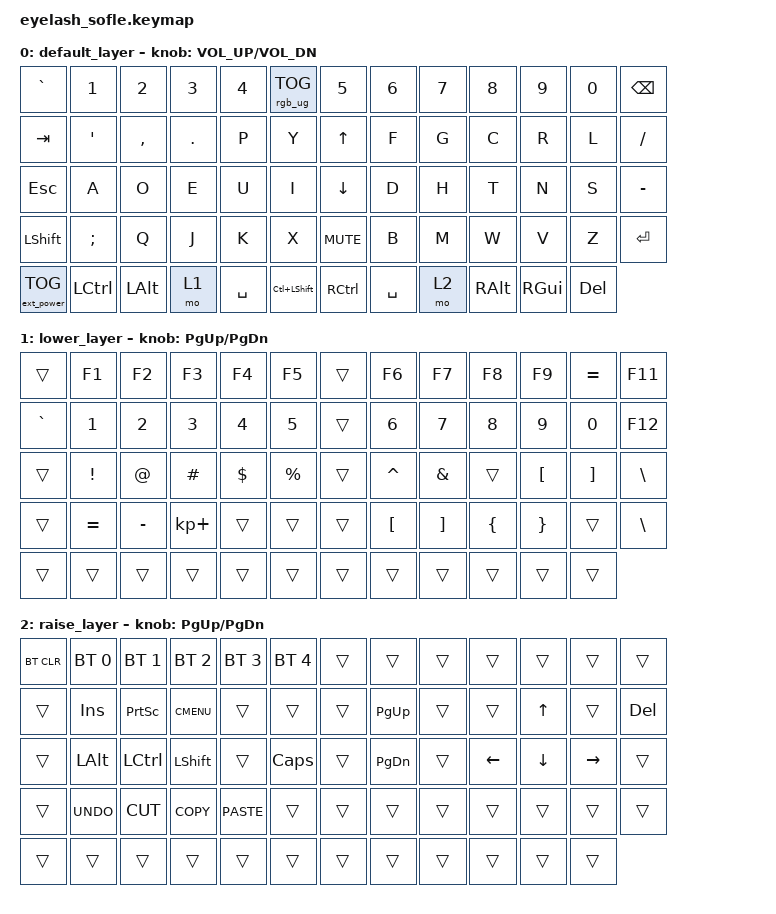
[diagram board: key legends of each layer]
/*
 * Copyright (c) 2020 The ZMK Contributors
 *
 * SPDX-License-Identifier: MIT
 */

#include <behaviors.dtsi>
#include <dt-bindings/zmk/keys.h>
#include <dt-bindings/zmk/bt.h>
#include <dt-bindings/zmk/rgb.h>
#include <dt-bindings/zmk/ext_power.h>

/ {
    keymap {
        compatible = "zmk,keymap";

        default_layer {
// -------------------------------------------------------------------------------------------------------------------
// |  `    |  1   |  2   |  3   |  4   | RGB  |             |  5   |  6   |  7   |  8   |  9   |  0   | BSPC |
// |  TAB  |  '   |  ,   |  .   |  P   |  Y   |             |  UP  |  F   |  G   |  C   |  R   |  L   |  /   |
// |  ESC  |  A   |  O   |  E   |  U   |  I   |             | DOWN |  D   |  H   |  T   |  N   |  S   |  -   |
// | SHIFT |  ;   |  Q   |  J   |  K   |  X   |             | MUTE |  B   |  M   |  W   |  V   |  Z   | ENT  |
// | ExtPw | CTRL | ALT  | LWR  | SPC  | CSFT |             | RCTL | SPC  | RSE  | RALT | RGUI | DEL  |
            bindings = <
&kp GRAVE         &kp N1    &kp N2     &kp N3       &kp N4    &rgb_ug RGB_TOG    &kp N5      &kp N6    &kp N7   &kp N8    &kp N9    &kp N0    &kp BSPC
&kp TAB           &kp SQT   &kp COMMA  &kp DOT      &kp P     &kp Y              &kp UP      &kp F     &kp G    &kp C     &kp R     &kp L     &kp FSLH
&kp ESC           &kp A     &kp O      &kp E        &kp U     &kp I              &kp DOWN    &kp D     &kp H    &kp T     &kp N     &kp S     &kp MINUS
&kp LSHFT         &kp SEMI  &kp Q      &kp J        &kp K     &kp X              &kp C_MUTE  &kp B     &kp M    &kp W     &kp V     &kp Z     &kp ENTER
&ext_power EP_TOG &kp LCTRL &kp LALT   &mo 1        &kp SPACE &kp LC(LSHIFT)     &kp RCTRL   &kp SPACE &mo 2    &kp RALT  &kp RGUI  &kp DEL
            >;

            sensor-bindings = <&inc_dec_kp C_VOL_UP C_VOL_DN>;
        };

        lower_layer {
// -------------------------------------------------------------------------------------------------------------------
// |      |  F1  |  F2  |  F3  |  F4  |  F5  |             |      |  F6  |  F7  |  F8  |  F9  |  =   |  F11 |
// |  `   |  1   |  2   |  3   |  4   |  5   |             |      |  6   |  7   |  8   |  9   |  0   |  F12 |
// |      |  !   |  @   |  #   |  $   |  %   |             |      |  ^   |  &   |      |  [   |  ]   |  \   |
// |      |  =   |  -   |  +   |      |      |             |      |  [   |  ]   |  {   |  }   |      |  \   |
// |      |      |      |      |      |      |             |      |      |      |      |      |      |
            bindings = <
&trans     &kp F1    &kp F2     &kp F3        &kp F4    &kp F5        &trans  &kp F6     &kp F7    &kp F8    &kp F9    &kp EQUAL &kp F11
&kp GRAVE  &kp N1    &kp N2     &kp N3        &kp N4    &kp N5        &trans  &kp N6     &kp N7    &kp N8    &kp N9    &kp N0    &kp F12
&trans     &kp EXCL  &kp AT     &kp HASH      &kp DLLR  &kp PRCNT     &trans  &kp CARET  &kp AMPS  &trans    &kp LBKT  &kp RBKT  &kp BSLH
&trans     &kp EQUAL &kp MINUS  &kp KP_PLUS   &trans    &trans        &trans  &kp LBKT   &kp RBKT  &kp LBRC  &kp RBRC  &trans    &kp BSLH
&trans     &trans    &trans     &trans        &trans    &trans        &trans  &trans     &trans    &trans    &trans    &trans
            >;

            sensor-bindings = <&inc_dec_kp PG_UP PG_DN>;
        };

        raise_layer {
// -------------------------------------------------------------------------------------------------------------------
// |BTCLR | BT1  | BT2  | BT3  | BT4  | BT5  |             |      |      |      |      |      |      |      |
// |      | INS  | PSCR | GUI  |      |      |             |      | PGUP |      |      |  ^   |      | DEL  |
// |      | ALT  | CTRL | SHFT |      | CAPS |             |      | PGDN |      |  <-  |  v   |  ->  |      |
// |      | UNDO | CUT  | COPY | PSTE |      |             |      |      |      |      |      |      |      |
// |      |      |      |      |      |      |             |      |      |      |      |      |      |
            bindings = <
&bt BT_CLR  &bt BT_SEL 0 &bt BT_SEL 1 &bt BT_SEL 2 &bt BT_SEL 3 &bt BT_SEL 4     &trans  &trans    &trans  &trans   &trans    &trans      &trans
&trans      &kp INS      &kp PSCRN    &kp K_CMENU  &trans       &trans           &trans  &kp PG_UP &trans  &trans   &kp UP    &trans      &kp DEL
&trans      &kp LALT     &kp LCTRL    &kp LSHFT    &trans       &kp CLCK         &trans  &kp PG_DN &trans  &kp LEFT &kp DOWN  &kp RIGHT   &trans
&trans      &kp K_UNDO   &kp K_CUT    &kp K_COPY   &kp K_PASTE  &trans           &trans  &trans    &trans  &trans   &trans    &trans      &trans
&trans      &trans       &trans       &trans       &trans       &trans           &trans  &trans    &trans  &trans   &trans    &trans
            >;

            sensor-bindings = <&inc_dec_kp PG_UP PG_DN>;
        };
    };
};
